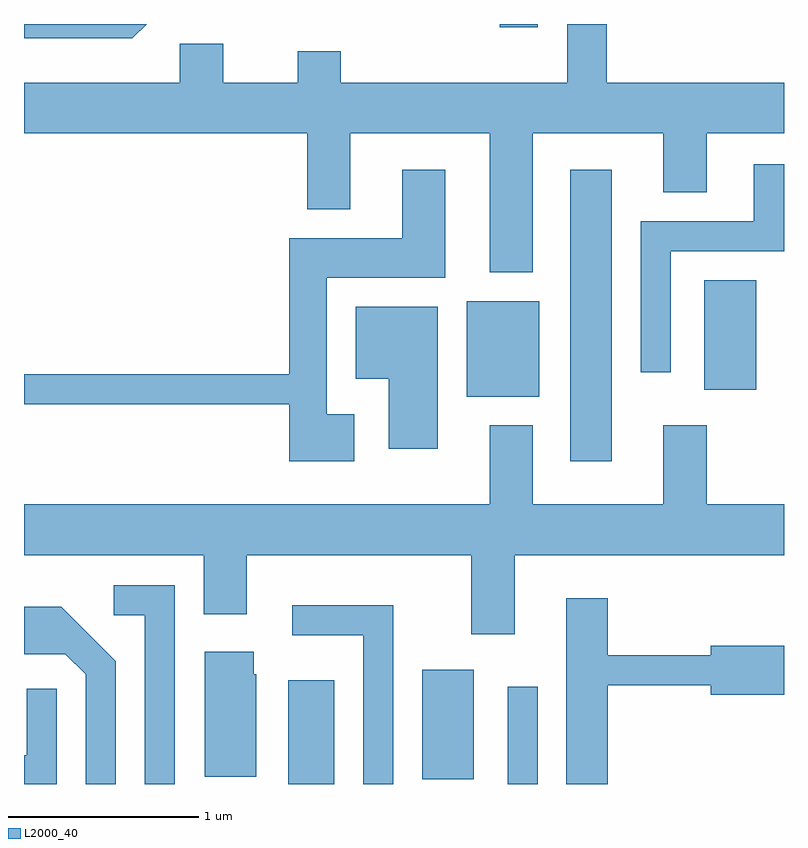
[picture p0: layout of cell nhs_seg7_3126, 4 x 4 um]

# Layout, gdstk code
import gdstk
lib = gdstk.Library(unit=1e-6, precision=1e-09)
def R(c, l, rs):  # rectangles x0, y0, x1, y1
    for r in rs: c.add(gdstk.rectangle(r[:2], r[2:], *l))
def P(c, l, *ps):  # polygons
    for p in ps: c.add(gdstk.Polygon(p, *l))
L2000_40 = (2000, 40)

nhs_seg7_3126 = lib.new_cell('nhs_seg7_3126')
R(nhs_seg7_3126, L2000_40, [(283.001,1684.252,283.244,1684.799), (284.156,1684.252,284.314,1684.763), (283.706,1684.276,283.979,1684.854), (284.486,1685.951,284.704,1687.484), (283.941,1686.291,284.324,1686.794), (285.191,1686.326,285.464,1686.904), (284.116,1688.236,284.314,1688.252)])
P(nhs_seg7_3126, L2000_40, [(284.289,1687.676),(284.976,1687.676),(284.976,1687.366),(285.204,1687.366),(285.204,1687.676),(285.611,1687.676),(285.611,1687.944),(284.679,1687.944),(284.679,1688.252),(284.471,1688.252),(284.471,1687.944),(283.279,1687.944),(283.279,1688.109),(283.051,1688.109),(283.051,1687.944),(282.659,1687.944),(282.659,1688.149),(282.431,1688.149),(282.431,1687.944),(281.611,1687.944),(281.611,1687.676),(283.101,1687.676),(283.101,1687.276),(283.329,1687.276),(283.329,1687.676),(284.061,1687.676),(284.061,1686.946),(284.289,1686.946)],
  [(282.258,1688.252),(281.611,1688.252),(281.611,1688.176),(282.182,1688.176)],
  [(285.014,1687.056),(285.611,1687.056),(285.611,1687.514),(285.451,1687.514),(285.451,1687.214),(284.856,1687.214),(284.856,1686.418),(285.014,1686.418)],
  [(283.349,1686.199),(283.204,1686.199),(283.204,1686.916),(283.829,1686.916),(283.829,1687.484),(283.601,1687.484),(283.601,1687.124),(283.006,1687.124),(283.006,1686.409),(281.611,1686.409),(281.611,1686.251),(283.006,1686.251),(283.006,1685.951),(283.349,1685.951)],
  [(283.789,1686.764),(283.356,1686.764),(283.356,1686.386),(283.531,1686.386),(283.531,1686.016),(283.789,1686.016)],
  [(284.194,1685.456),(285.611,1685.456),(285.611,1685.724),(285.204,1685.724),(285.204,1686.139),(284.976,1686.139),(284.976,1685.724),(284.289,1685.724),(284.289,1686.139),(284.061,1686.139),(284.061,1685.724),(281.611,1685.724),(281.611,1685.456),(282.556,1685.456),(282.556,1685.146),(282.784,1685.146),(282.784,1685.456),(283.966,1685.456),(283.966,1685.041),(284.194,1685.041)],
  [(282.404,1685.299),(282.083,1685.299),(282.083,1685.141),(282.246,1685.141),(282.246,1684.252),(282.404,1684.252)],
  [(284.684,1684.771),(285.226,1684.771),(285.226,1684.721),(285.611,1684.721),(285.611,1684.979),(285.226,1684.979),(285.226,1684.929),(284.684,1684.929),(284.684,1685.229),(284.466,1685.229),(284.466,1684.252),(284.684,1684.252)],
  [(283.554,1685.194),(283.023,1685.194),(283.023,1685.036),(283.396,1685.036),(283.396,1684.252),(283.554,1684.252)],
  [(282.094,1684.897),(281.807,1685.184),(281.611,1685.184),(281.611,1684.936),(281.829,1684.936),(281.936,1684.829),(281.936,1684.252),(282.094,1684.252)],
  [(282.834,1684.83),(282.819,1684.83),(282.819,1684.949),(282.561,1684.949),(282.561,1684.291),(282.834,1684.291)],
  [(281.784,1684.753),(281.626,1684.753),(281.626,1684.404),(281.611,1684.404),(281.611,1684.252),(281.784,1684.252)])

lib.write_gds('nhs_seg7_3126.gds')
